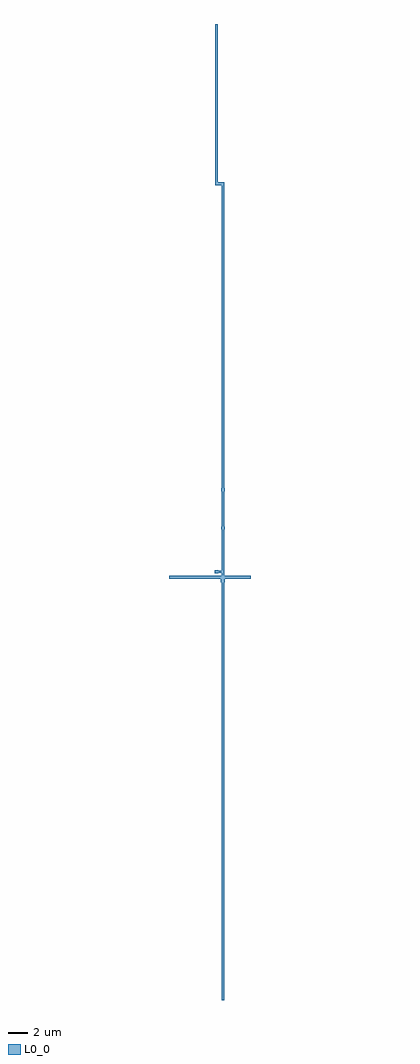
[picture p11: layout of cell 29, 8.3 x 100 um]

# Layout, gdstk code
import gdstk
lib = gdstk.Library(unit=1e-6, precision=1e-09)
def P(c, l, *ps):  # polygons
    for p in ps: c.add(gdstk.Polygon(p, *l))
L0_0 = (0, 0)

c_29 = lib.new_cell('29')
P(c_29, L0_0, [(961.05,943.46),(961.48,943.46),(961.48,942.785),(961.05,942.785),(961.05,943.46)],
  [(960.515,943.995),(961.405,943.995),(961.405,943.765),(960.515,943.765),(960.515,943.995)],
  [(961.175,943.32),(961.175,943.995),(961.405,943.995),(961.405,943.32),(961.175,943.32)],
  [(960.44,944.02),(960.82,944.02),(960.82,943.74),(960.44,943.74),(960.44,944.02)],
  [(961.05,943.46),(961.48,943.46),(961.48,942.785),(961.05,942.785),(961.05,943.46)],
  [(961.175,943.32),(961.175,943.995),(961.405,943.995),(961.405,943.32),(961.175,943.32)],
  [(961.1,943.46),(961.48,943.46),(961.48,943.18),(961.1,943.18),(961.1,943.46)],
  [(961.1,952.42),(961.48,952.42),(961.48,952.14),(961.1,952.14),(961.1,952.42)],
  [(961.15,948.22),(961.15,952.42),(961.43,952.42),(961.43,948.22),(961.15,948.22)],
  [(961.15,943.18),(961.15,948.5),(961.43,948.5),(961.43,943.18),(961.15,943.18)],
  [(961.1,948.5),(961.48,948.5),(961.48,948.22),(961.1,948.22),(961.1,948.5)],
  [(961.1,948.5),(961.48,948.5),(961.48,948.22),(961.1,948.22),(961.1,948.5)],
  [(961.15,943.18),(961.15,948.5),(961.43,948.5),(961.43,943.18),(961.15,943.18)],
  [(961.1,943.46),(961.48,943.46),(961.48,943.18),(961.1,943.18),(961.1,943.46)],
  [(961.1,943.46),(961.48,943.46),(961.48,943.18),(961.1,943.18),(961.1,943.46)],
  [(963.08,943.46),(963.46,943.46),(963.46,943.18),(963.08,943.18),(963.08,943.46)],
  [(961.15,943.46),(963.41,943.46),(963.41,943.18),(961.15,943.18),(961.15,943.46)],
  [(955.87,943.46),(961.43,943.46),(961.43,943.18),(955.87,943.18),(955.87,943.46)],
  [(963.13,943.46),(964.07,943.46),(964.07,943.18),(963.13,943.18),(963.13,943.46)],
  [(955.82,943.46),(956.2,943.46),(956.2,943.18),(955.82,943.18),(955.82,943.46)],
  [(963.74,943.46),(964.12,943.46),(964.12,943.18),(963.74,943.18),(963.74,943.46)],
  [(961.1,943.46),(961.48,943.46),(961.48,943.18),(961.1,943.18),(961.1,943.46)],
  [(955.87,943.46),(961.43,943.46),(961.43,943.18),(955.87,943.18),(955.87,943.46)],
  [(955.82,943.46),(956.2,943.46),(956.2,943.18),(955.82,943.18),(955.82,943.46)],
  [(960.77,1000),(960.77,983.5),(960.49,983.5),(960.49,1000),(960.77,1000)],
  [(960.49,983.78),(961.43,983.78),(961.43,983.5),(960.49,983.5),(960.49,983.78)],
  [(961.15,900),(961.15,983.78),(961.43,983.78),(961.43,900),(961.15,900)],
  [(960.49,983.78),(961.43,983.78),(961.43,983.5),(960.49,983.5),(960.49,983.78)],
  [(961.15,900),(961.15,983.78),(961.43,983.78),(961.43,900),(961.15,900)])

lib.write_gds('29.gds')
